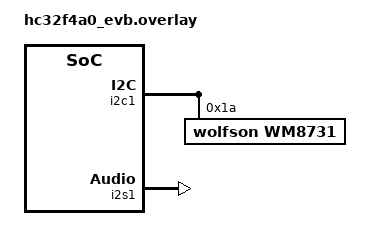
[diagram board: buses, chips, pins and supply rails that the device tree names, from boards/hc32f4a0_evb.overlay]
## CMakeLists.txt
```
# SPDX-License-Identifier: Apache-2.0

cmake_minimum_required(VERSION 3.20.0)

find_package(Zephyr REQUIRED HINTS $ENV{ZEPHYR_BASE})
project(i2s_mic_headphone)

target_sources(app PRIVATE src/main.c src/codec.c)
```

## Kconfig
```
# Copyright (C) 2022-2024, Xiaohua Semiconductor Co., Ltd.
# SPDX-License-Identifier: Apache-2.0

source "Kconfig.zephyr"

config I2C
	default $(dt_compat_on_bus,$(DT_COMPAT_WOLFSON_WM8731),i2c)
```

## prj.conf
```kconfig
CONFIG_I2S=y
CONFIG_NO_OPTIMIZATIONS=y
CONFIG_MAIN_STACK_SIZE=40960
CONFIG_HEAP_MEM_POOL_SIZE=4096
```

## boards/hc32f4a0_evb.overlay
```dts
/*
 * Copyright (C) 2022-2024, Xiaohua Semiconductor Co., Ltd.
 *
 * SPDX-License-Identifier: Apache-2.0
 */

&i2c1 {
	wm8731: wm8731@1a {
		status = "okay";
		compatible = "wolfson,wm8731";
		reg = <0x1a>;
	};
};

i2s_rxtx: &i2s1 {
	status = "okay";
	pinctrl-0 = <&i2s1_default>;
	pinctrl-names = "default";
};

&dma1 {
	status = "okay";
};
```

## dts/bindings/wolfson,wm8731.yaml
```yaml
# Copyright (C) 2022-2024, Xiaohua Semiconductor Co., Ltd.
# SPDX-License-Identifier: Apache-2.0

description: WM8731 Audio CODEC

compatible: "wolfson,wm8731"

include: i2c-device.yaml
```

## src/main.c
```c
/*
 * Copyright (C) 2022-2024, Xiaohua Semiconductor Co., Ltd.
 *
 * SPDX-License-Identifier: Apache-2.0
 */

#include <zephyr/kernel.h>
#include "codec.h"
#include <zephyr/sys/printk.h>
#include <zephyr/drivers/i2s.h>
#include <zephyr/drivers/gpio.h>
#include <string.h>

#define I2S_RX_NODE  DT_NODELABEL(i2s_rxtx)
#define I2S_TX_NODE  I2S_RX_NODE

#define SAMPLE_FREQUENCY    32000
#define SAMPLE_BIT_WIDTH    32
#define BYTES_PER_SAMPLE    sizeof(int32_t)
#define NUMBER_OF_CHANNELS  2
#define TIMEOUT             1000

#define BLOCK_SIZE  512 * BYTES_PER_SAMPLE
#define BLOCK_COUNT 4
K_MEM_SLAB_DEFINE_STATIC(mem_slab, BLOCK_SIZE, BLOCK_COUNT, 4);

int main(void)
{
	const struct device *const i2s_dev_rx = DEVICE_DT_GET(I2S_RX_NODE);
	const struct device *const i2s_dev_tx = DEVICE_DT_GET(I2S_TX_NODE);
	struct i2s_config config;
	void *mem_block;
	int ret;
	uint32_t block_size;

	if (!init_wm8731_i2c()) {
		return 0;
	}

	if (!device_is_ready(i2s_dev_rx)) {
		printk("%s is not ready\n", i2s_dev_rx->name);
		return 0;
	}

	if (i2s_dev_rx != i2s_dev_tx && !device_is_ready(i2s_dev_tx)) {
		printk("%s is not ready\n", i2s_dev_tx->name);
		return 0;
	}

	config.word_size = SAMPLE_BIT_WIDTH;
	config.channels = NUMBER_OF_CHANNELS;
	config.format = I2S_FMT_DATA_FORMAT_I2S;
	config.options = I2S_OPT_BIT_CLK_MASTER | I2S_OPT_FRAME_CLK_MASTER;
	config.frame_clk_freq = SAMPLE_FREQUENCY;
	config.mem_slab = &mem_slab;
	config.block_size = BLOCK_SIZE;
	config.timeout = TIMEOUT;
	if (i2s_configure(i2s_dev_rx, I2S_DIR_BOTH, &config)) {
		return 0;
	}

	ret = k_mem_slab_alloc(&mem_slab, &mem_block, K_NO_WAIT);
	if (ret < 0) {
		return false;
	}
	i2s_write(i2s_dev_tx, mem_block, BLOCK_SIZE);
	ret = k_mem_slab_alloc(&mem_slab, &mem_block, K_NO_WAIT);
	if (ret < 0) {
		return false;
	}
	i2s_write(i2s_dev_tx, mem_block, BLOCK_SIZE);

	if (i2s_trigger(i2s_dev_rx, I2S_DIR_BOTH, I2S_TRIGGER_START)) {
		return 0;
	}

	for (;;) {
		ret = i2s_read(i2s_dev_rx, &mem_block, &block_size);
		if (ret == 0) {
			ret = i2s_write(i2s_dev_tx, mem_block, BLOCK_SIZE);
		}
	}

	printk("Streams stopped\n");
}
```

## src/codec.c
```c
/*
 * Copyright (C) 2022-2024, Xiaohua Semiconductor Co., Ltd.
 *
 * SPDX-License-Identifier: Apache-2.0
 */

#include <zephyr/kernel.h>
#include "codec.h"
#include <zephyr/sys/printk.h>
#include <zephyr/drivers/i2c.h>

#if DT_ON_BUS(WM8731_NODE, i2c)

#define WM8731_I2C_NODE DT_BUS(WM8731_NODE)
#define WM8731_I2C_ADDR DT_REG_ADDR(WM8731_NODE)

bool init_wm8731_i2c(void)
{
	const struct device *const i2c_dev = DEVICE_DT_GET(WM8731_I2C_NODE);

	/* Initialization data for WM8731 registers. */
	static const uint8_t init[][2] = {
		{ 0x1E, 0x00 },
		
		{ 0x0C, 0x11 },

		{ 0x08, 0x15 },

		{ 0x10, 0x18 },

		{ 0x04, 0x6F },

		{ 0x06, 0x6F },

		{ 0x0E, 0x0E },

		{ 0x12, 0x01 },

		{ 0x0C, 0x01 },

		{ 0x0A, 0x00 }
	};

	if (!device_is_ready(i2c_dev)) {
		printk("%s is not ready\n", i2c_dev->name);
		return false;
	}

	for (int i = 0; i < ARRAY_SIZE(init); ++i) {
		const uint8_t *entry = init[i];
		int ret;

		ret = i2c_reg_write_byte(i2c_dev, WM8731_I2C_ADDR,
					 entry[0], entry[1]);
		if (ret < 0) {
			printk("Initialization step %d failed\n", i);
			return false;
		}
	}

	return true;
}

#endif /* DT_ON_BUS(WM8731_NODE, i2c) */
```

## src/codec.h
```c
/*
 * Copyright (C) 2022-2024, Xiaohua Semiconductor Co., Ltd.
 *
 * SPDX-License-Identifier: Apache-2.0
 */

#define WM8731_NODE DT_NODELABEL(wm8731)

bool init_wm8731_i2c(void);
```
